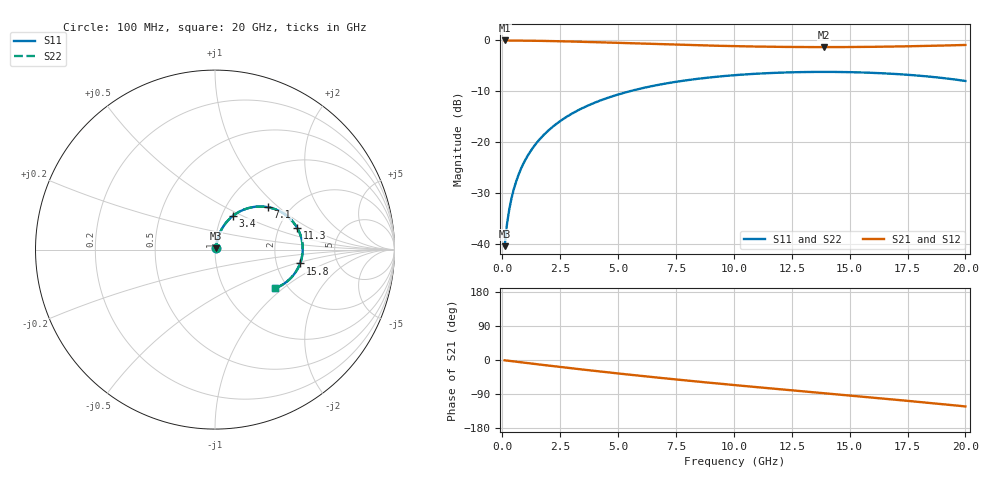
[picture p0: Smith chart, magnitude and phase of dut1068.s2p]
! Touchstone file exported from HFSS 2026.1.0
!  File:  C:/ffzhzh/LocalFiles/Ansys_Project_Files/temp_train_TSV_RDL_1068_1783299044_38820.aedt
!  Generated:  08:59:42 AM Jul  6, 2026
!  Design:  TSV_RDL
!  Project:  temp_train_TSV_RDL_1068_1783299044_38820
! Variables:
!  h_bsmrdl = 5.08um
!  h_ox = 20um
!  h_rdl = 5um
!  h_sub = 72.94um
!  h_tmrdl = 4.44um
!  h_tsv = 72.94um
!  h_via = 3um
!  l_bsmrdl = 341.15um
!  l_sub = 2141.47um
!  l_tmrdl = 139.92um
!  m_sub = 200um
!  pitch = 56.35um
!  r_tsv = 8.03um
!  s_tmrdl = 10um
!  w_bsmrdl = 26.71um
!  w_sub = 500um
!  w_tmrdl = 26.07um
!  x_tsv_center1 = 152.955um
!  x_tsv_center2 = 520.815um
!  x_tsv_center3 = 686.805um
!  x_tsv_center4 = 1054.665um
!  x_tsv_center5 = 1220.655um
!  x_tsv_center6 = 1588.515um
# GHz S MA R 50.000000
! Terminal data exported
! Port[1] = TM_RDL1_1_T1
! Port[2] = TM_RDL5_1_T1
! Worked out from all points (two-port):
!   200 points, 100 MHz to 20 GHz, reference 50 ohm
!   highest |S21| = -0.06 dB at 100 MHz (marker M1); lowest = -1.4 dB at 13.9 GHz (marker M2)
!   |S21| within 3 dB of the highest: start of sweep to end of sweep
!   lowest |S11| = -40.4 dB at 100 MHz (marker M3), VSWR 1.02, Z = 50.6 + j0.721 ohm
!   |S11| at or under -10 dB: start of sweep to 5.513 GHz
!   |S22| runs from -40.4 to -6.2 dB; largest |S21 - S12| = 2.9e-14
!   S11 on the Smith chart (normalised r, x): 100 MHz: 1.01, +0.01; 3.4 GHz: 1.13, +0.44; 7.1 GHz: 1.55, +0.85; 11.3 GHz: 2.51, +0.79; 15.8 GHz: 2.72, -0.54; 20 GHz: 1.72, -0.88
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0.1  0.009573 48.1  0.9937 -0.8  0.9937 -0.8  0.009573 48.1
! Gamma 0 0 0 0
! Port Impedance 50 0 50 0
0.2  0.01558 63.1  0.9932 -1.5  0.9932 -1.5  0.01558 63.1
0.3  0.02191 69.2  0.9928 -2.3  0.9928 -2.3  0.02191 69.2
0.4  0.02834 72.3  0.9925 -3.0  0.9925 -3.0  0.02834 72.3
0.5  0.03483 74.1  0.9921 -3.8  0.9921 -3.8  0.03483 74.1
0.7  0.04789 75.5  0.9912 -5.2  0.9912 -5.2  0.04789 75.5
1  0.06745 75.6  0.9896 -7.5  0.9896 -7.5  0.06745 75.6
1.4  0.0932 74.1  0.9868 -10.4  0.9868 -10.4  0.0932 74.1
2  0.1308 70.9  0.9814 -14.8  0.9814 -14.8  0.1308 70.9
2.6  0.1669 67.1  0.9749 -19.1  0.9749 -19.1  0.1669 67.1
3.4  0.2125 62.0  0.9647 -24.7  0.9647 -24.7  0.2125 62.0
3.5  0.2179 61.3  0.9633 -25.4  0.9633 -25.4  0.2179 61.3
5  0.2933 51.7  0.9413 -35.5  0.9413 -35.5  0.2933 51.7
6.8  0.367 40.5  0.914 -47.0  0.914 -47.0  0.367 40.5
7.1  0.3774 38.7  0.9096 -48.9  0.9096 -48.9  0.3775 38.7
10.1  0.4552 21.5  0.8733 -66.6  0.8733 -66.6  0.4552 21.5
11.3  0.4733 14.9  0.8638 -73.4  0.8638 -73.4  0.4733 14.9
13.4  0.4883 3.6  0.8555 -85.0  0.8555 -85.0  0.4883 3.6
13.9  0.4889 1.0  0.8552 -87.7  0.8552 -87.7  0.4889 1.0
15.8  0.4803 -9.2  0.8597 -98.2  0.8597 -98.2  0.4803 -9.2
16.7  0.4703 -14.1  0.8648 -103.2  0.8648 -103.2  0.4703 -14.1
20  0.3985 -32.7  0.8976 -122.5  0.8976 -122.5  0.3985 -32.7
